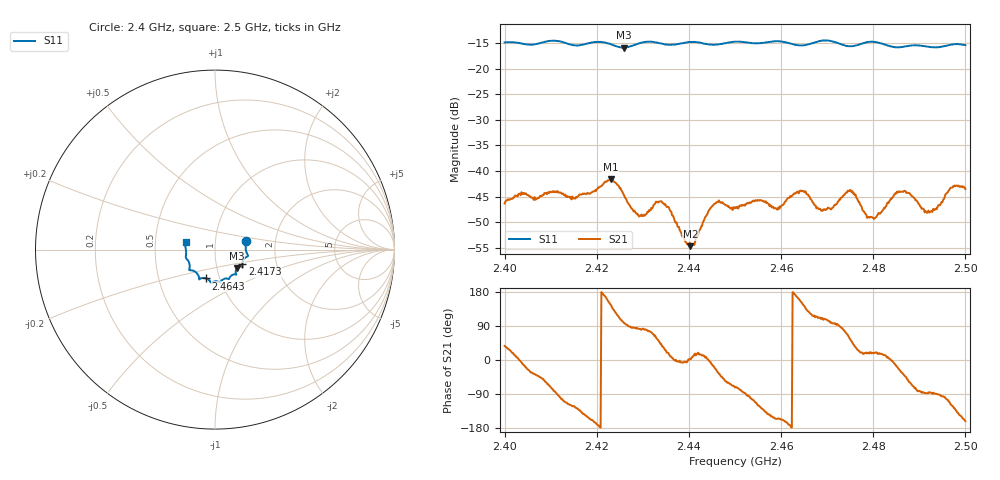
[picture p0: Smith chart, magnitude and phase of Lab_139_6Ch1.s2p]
# Hz S RI R 50
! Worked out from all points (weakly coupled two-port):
!   601 points, 2.4 GHz to 2.5 GHz, reference 50 ohm
!   highest |S21| = -41.62 dB at 2.423 GHz (marker M1); lowest = -54.7 dB at 2.4403 GHz (marker M2)
!   lowest |S11| = -15.9 dB at 2.4258 GHz (marker M3), VSWR 1.38, Z = 62.3 - j13.2 ohm
!   |S11| at or under -10 dB: start of sweep to end of sweep
!   S12 and S22 are empty: the file has one direction only
!   S11 on the Smith chart (normalised r, x): 2.4 GHz: 1.41, +0.14; 2.4173 GHz: 1.34, -0.23; 2.4643 GHz: 0.86, -0.28; 2.5 GHz: 0.72, +0.06
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2.4e9  0.1733 0.0489  0.00384 0.0029  0 0  0 0
2.416667e9  0.1528 -0.0744  -0.00435 -0.00396  0 0  0 0
2.417333e9  0.1518 -0.0819  -0.00487 -0.00354  0 0  0 0
2.423e9  0.1454 -0.0939  -0.00692 0.00459  0 0  0 0
2.425833e9  0.1221 -0.1035  -0.000889 0.00583  0 0  0 0
2.4295e9  0.1165 -0.1346  0.000584 0.00361  0 0  0 0
2.433333e9  0.1126 -0.1377  0.00302 0.0039  0 0  0 0
2.440333e9  0.0787 -0.1641  0.00184 0.000115  0 0  0 0
2.445667e9  0.0505 -0.1635  0.00446 -0.00183  0 0  0 0
2.45e9  0.0288 -0.181  0.0013 -0.00413  0 0  0 0
2.455333e9  -0.00101 -0.1769  -0.00277 -0.00435  0 0  0 0
2.459333e9  -0.0231 -0.1835  -0.00394 -0.00189  0 0  0 0
2.464333e9  -0.05 -0.1606  -0.00578 0.00288  0 0  0 0
2.466667e9  -0.076 -0.1592  -0.00251 0.00451  0 0  0 0
2.470833e9  -0.0877 -0.1637  -0.000692 0.00416  0 0  0 0
2.475e9  -0.1062 -0.1266  0.00377 0.00537  0 0  0 0
2.48e9  -0.1434 -0.1131  0.0033 0.00113  0 0  0 0
2.483333e9  -0.1406 -0.0897  0.00486 0.0004  0 0  0 0
2.487e9  -0.155 -0.0556  0.00461 -0.00438  0 0  0 0
2.492333e9  -0.1611 -0.022  0.00033 -0.00397  0 0  0 0
2.497167e9  -0.1697 0.0279  -0.00353 -0.00592  0 0  0 0
2.5e9  -0.1637 0.0427  -0.00632 -0.00214  0 0  0 0
